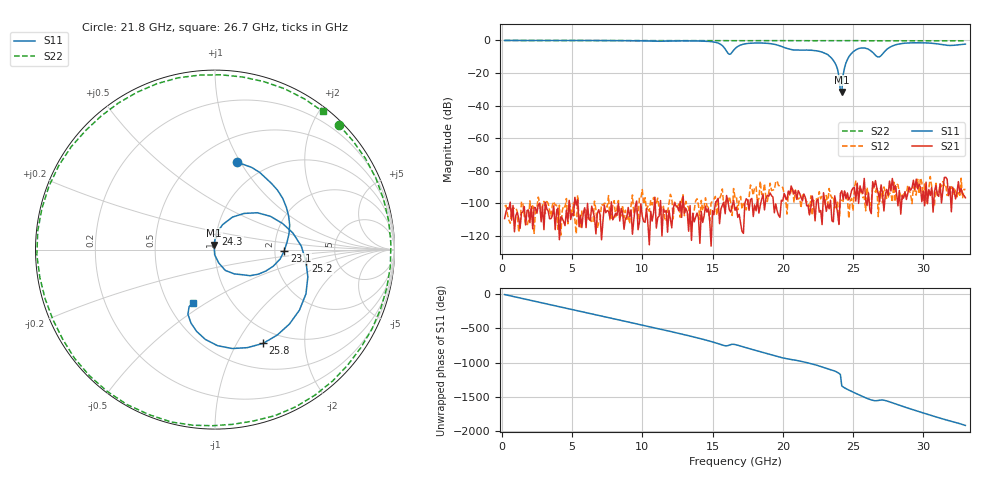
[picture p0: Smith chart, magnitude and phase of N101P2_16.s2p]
# GHZ S RI R 50
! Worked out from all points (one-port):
!   329 points, 200 MHz to 33 GHz, reference 50 ohm
!   lowest |S11| = -31.7 dB at 24.2 GHz (marker M1), VSWR 1.05, Z = 49.4 + j2.52 ohm
!   |S11| at or under -10 dB: 23.37 GHz to 24.71 GHz (1.339 GHz wide, 5.57 % of centre); 26.75 GHz to 26.9 GHz (146.1 MHz wide, 0.545 % of centre)
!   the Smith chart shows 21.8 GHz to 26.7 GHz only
!   S11 on the Smith chart (normalised r, x): 21.8 GHz: 0.74, +0.97; 23.1 GHz: 2.26, -0.03; 24.3 GHz: 1.00, +0.18; 25.2 GHz: 2.99, -0.51; 25.8 GHz: 0.81, -1.29; 26.7 GHz: 0.66, -0.44
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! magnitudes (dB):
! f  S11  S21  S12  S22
! 200 MHz  0.0  -109.3  -101.7  0.0
! 5.7 GHz  0.0  -114.9  -104.8  -0.1
! 11.2 GHz  -0.5  -107.9  -103.5  -0.2
! 15.2 GHz  -1.1  -100.0  -95.8  -0.1
! 16.2 GHz  -8.5  -104.1  -95.8  -0.2
! 16.6 GHz  -5.1  -104.3  -96.4  -0.1
! 18.4 GHz  -1.6  -101.2  -86.4  -0.1
! 21.8 GHz  -6.0  -101.5  -99.0  -0.2
! 22.1 GHz  -6.1  -95.6  -107.3  -0.2
! 23.1 GHz  -8.3  -104.9  -95.2  -0.2
! 23.8 GHz  -15.2  -100.7  -102.0  -0.1
! 24 GHz  -22.3  -113.0  -113.5  -0.1
! 24.1 GHz  -30.8  -94.0  -98.9  -0.1
! 24.2 GHz  -31.7  -92.3  -98.0  -0.1
! 24.3 GHz  -21.2  -97.5  -98.8  -0.1
! 24.6 GHz  -11.8  -93.6  -96.6  -0.1
! 25.2 GHz  -5.8  -98.6  -86.4  -0.1
! 25.8 GHz  -4.6  -84.8  -96.1  -0.2
! 26.7 GHz  -9.8  -90.9  -89.8  -0.2
! 27.6 GHz  -4.3  -86.3  -93.8  -0.2
! 28.9 GHz  -1.6  -94.0  -89.1  -0.2
! 33 GHz  -2.3  -96.6  -91.5  -0.3
